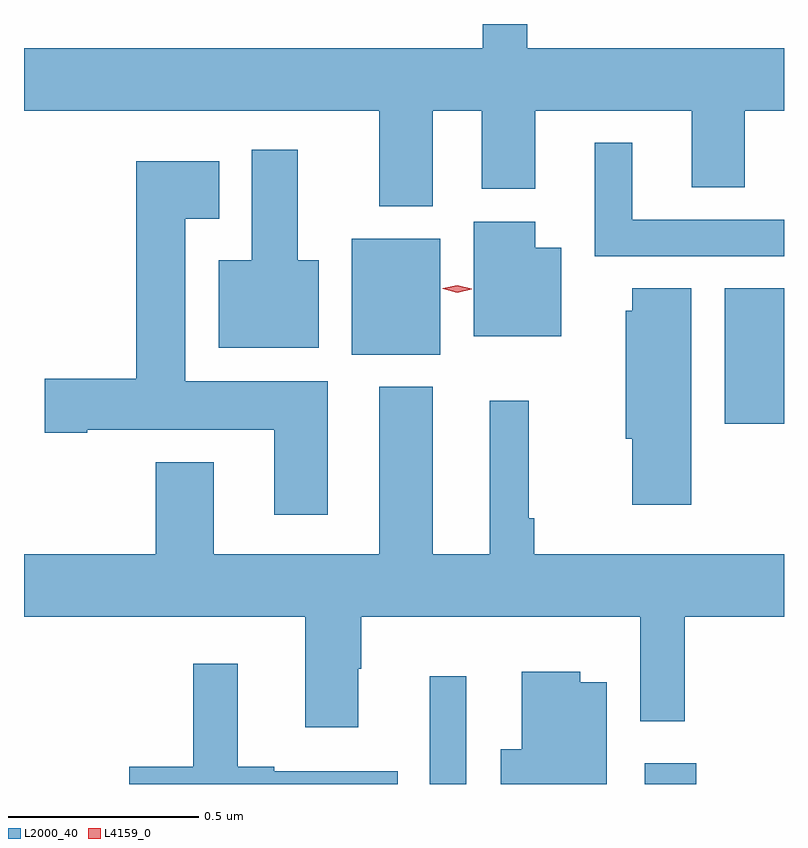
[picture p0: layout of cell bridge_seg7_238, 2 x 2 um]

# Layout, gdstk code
import gdstk
lib = gdstk.Library(unit=1e-6, precision=1e-09)
def R(c, l, rs):  # rectangles x0, y0, x1, y1
    for r in rs: c.add(gdstk.rectangle(r[:2], r[2:], *l))
def P(c, l, *ps):  # polygons
    for p in ps: c.add(gdstk.Polygon(p, *l))
L2000_40 = (2000, 40)
L4159_0 = (4159, 0)

bridge_seg7_238 = lib.new_cell('bridge_seg7_238')
R(bridge_seg7_238, L2000_40, [(276.684,1060.116,276.78,1060.399), (277.25,1060.116,277.385,1060.171), (277.46,1061.064,277.616,1061.42), (276.479,1061.246,276.712,1061.551)])
P(bridge_seg7_238, L2000_40, [(276.691,1061.888),(276.821,1061.888),(276.821,1061.682),(276.961,1061.682),(276.961,1061.888),(277.373,1061.888),(277.373,1061.686),(277.513,1061.686),(277.513,1061.888),(277.616,1061.888),(277.616,1062.052),(276.94,1062.052),(276.94,1062.116),(276.823,1062.116),(276.823,1062.052),(275.616,1062.052),(275.616,1061.888),(276.551,1061.888),(276.551,1061.636),(276.691,1061.636)],
  [(277.616,1061.601),(277.216,1061.601),(277.216,1061.803),(277.118,1061.803),(277.118,1061.505),(277.616,1061.505)],
  [(276.391,1061.494),(276.337,1061.494),(276.337,1061.785),(276.215,1061.785),(276.215,1061.494),(276.128,1061.494),(276.128,1061.264),(276.391,1061.264)],
  [(276.415,1061.176),(276.04,1061.176),(276.04,1061.603),(276.13,1061.603),(276.13,1061.755),(275.911,1061.755),(275.911,1061.183),(275.67,1061.183),(275.67,1061.041),(275.782,1061.041),(275.782,1061.048),(276.275,1061.048),(276.275,1060.824),(276.415,1060.824)],
  [(277.03,1061.527),(276.961,1061.527),(276.961,1061.596),(276.8,1061.596),(276.8,1061.294),(277.03,1061.294)],
  [(277.372,1061.42),(277.217,1061.42),(277.217,1061.361),(277.199,1061.361),(277.199,1061.025),(277.217,1061.025),(277.217,1060.851),(277.372,1060.851)],
  [(276.959,1060.816),(276.944,1060.816),(276.944,1061.125),(276.842,1061.125),(276.842,1060.72),(276.691,1060.72),(276.691,1061.161),(276.551,1061.161),(276.551,1060.72),(276.115,1060.72),(276.115,1060.963),(275.963,1060.963),(275.963,1060.72),(275.616,1060.72),(275.616,1060.556),(276.356,1060.556),(276.356,1060.266),(276.496,1060.266),(276.496,1060.419),(276.504,1060.419),(276.504,1060.556),(277.238,1060.556),(277.238,1060.281),(277.355,1060.281),(277.355,1060.556),(277.616,1060.556),(277.616,1060.72),(276.959,1060.72)],
  [(276.599,1060.149),(276.274,1060.149),(276.274,1060.162),(276.178,1060.162),(276.178,1060.432),(276.061,1060.432),(276.061,1060.162),(275.893,1060.162),(275.893,1060.116),(276.599,1060.116)],
  [(277.15,1060.384),(277.08,1060.384),(277.08,1060.411),(276.926,1060.411),(276.926,1060.207),(276.87,1060.207),(276.87,1060.116),(277.15,1060.116)])
P(bridge_seg7_238, L4159_0, [(276.756,1061.409),(276.718,1061.419),(276.718,1061.42),(276.718,1061.42),(276.756,1061.429),(276.794,1061.419),(276.794,1061.418),(276.794,1061.418)])

lib.write_gds('bridge_seg7_238.gds')
